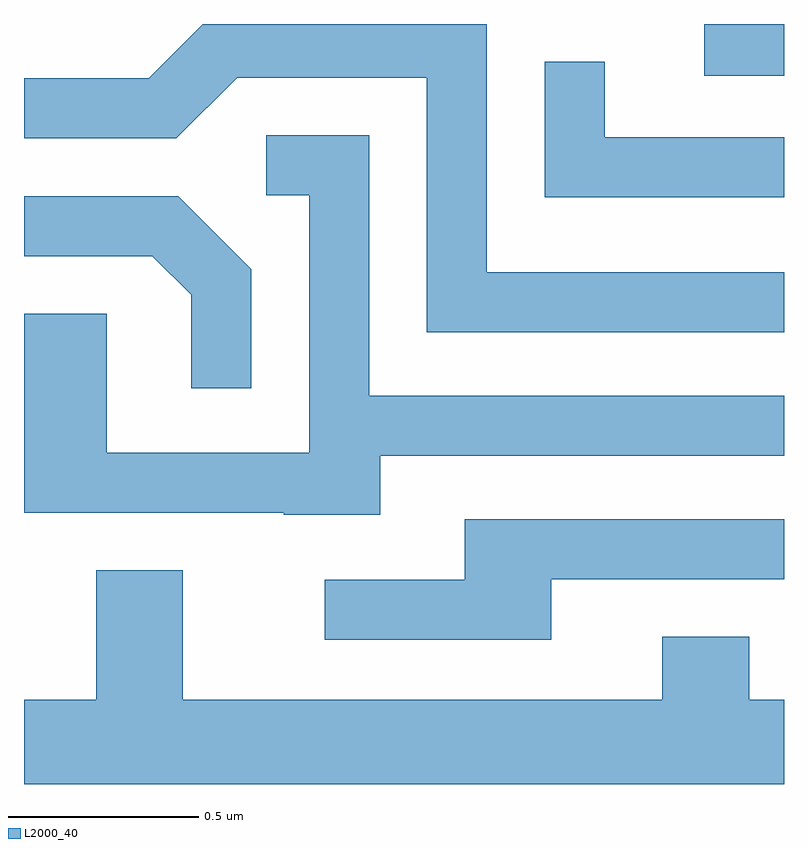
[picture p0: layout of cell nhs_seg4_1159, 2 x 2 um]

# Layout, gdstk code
import gdstk
lib = gdstk.Library(unit=1e-6, precision=1e-09)
def R(c, l, rs):  # rectangles x0, y0, x1, y1
    for r in rs: c.add(gdstk.rectangle(r[:2], r[2:], *l))
def P(c, l, *ps):  # polygons
    for p in ps: c.add(gdstk.Polygon(p, *l))
L2000_40 = (2000, 40)

nhs_seg4_1159 = lib.new_cell('nhs_seg4_1159')
R(nhs_seg4_1159, L2000_40, [(195.401,1318.846,195.611,1318.982)])
P(nhs_seg4_1159, L2000_40, [(195.611,1318.329),(194.829,1318.329),(194.829,1318.982),(194.082,1318.982),(193.939,1318.839),(193.611,1318.839),(193.611,1318.681),(194.012,1318.681),(194.172,1318.841),(194.671,1318.841),(194.671,1318.171),(195.611,1318.171)],
  [(195.611,1318.684),(195.139,1318.684),(195.139,1318.883),(194.981,1318.883),(194.981,1318.526),(195.611,1318.526)],
  [(194.549,1317.846),(195.611,1317.846),(195.611,1318.004),(194.519,1318.004),(194.519,1318.689),(194.248,1318.689),(194.248,1318.531),(194.361,1318.531),(194.361,1317.854),(193.829,1317.854),(193.829,1318.219),(193.611,1318.219),(193.611,1317.696),(194.295,1317.696),(194.295,1317.691),(194.549,1317.691)],
  [(194.209,1318.337),(194.017,1318.529),(193.611,1318.529),(193.611,1318.371),(193.949,1318.371),(194.051,1318.269),(194.051,1318.023),(194.209,1318.023)],
  [(194.999,1317.521),(195.611,1317.521),(195.611,1317.679),(194.771,1317.679),(194.771,1317.519),(194.403,1317.519),(194.403,1317.361),(194.999,1317.361)],
  [(195.611,1317.204),(195.519,1317.204),(195.519,1317.369),(195.291,1317.369),(195.291,1317.204),(194.029,1317.204),(194.029,1317.544),(193.801,1317.544),(193.801,1317.204),(193.611,1317.204),(193.611,1316.982),(195.611,1316.982)])

lib.write_gds('nhs_seg4_1159.gds')
